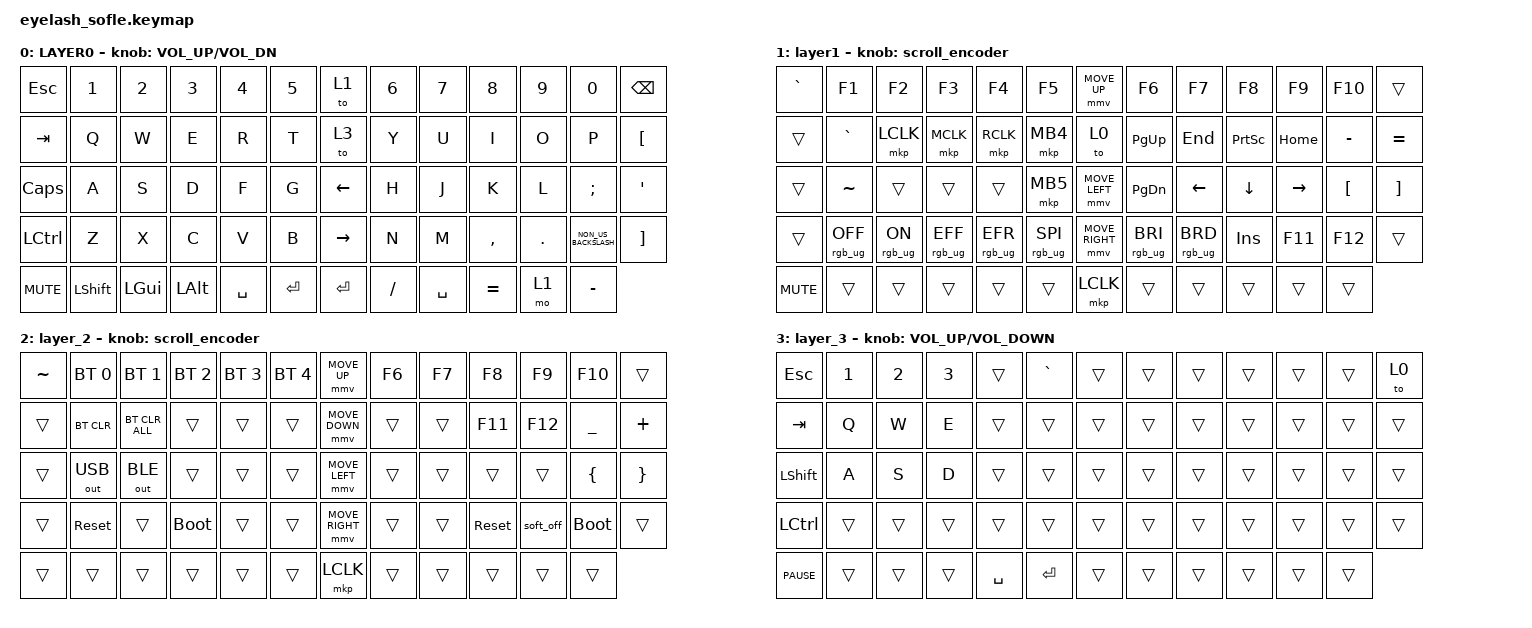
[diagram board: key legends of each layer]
#define ZMK_POINTING_DEFAULT_MOVE_VAL 1200  // 600
#define ZMK_POINTING_DEFAULT_SCRL_VAL 25   // 10

#include <input/processors.dtsi>
#include <zephyr/dt-bindings/input/input-event-codes.h>
#include <behaviors.dtsi>
#include <dt-bindings/zmk/bt.h>
#include <dt-bindings/zmk/keys.h>
#include <dt-bindings/zmk/outputs.h>
#include <dt-bindings/zmk/pointing.h>
#include <dt-bindings/zmk/rgb.h>

&mmv_input_listener { input-processors = <&zip_xy_scaler 2 1>; };

&msc_input_listener { input-processors = <&zip_scroll_scaler 2 1>; };

&msc {
    acceleration-exponent = <1>;      // 0
    time-to-max-speed-ms = <100>;       // 300
    delay-ms = <0>;                   // 0
};

&mmv {
    time-to-max-speed-ms = <500>;
    acceleration-exponent = <1>;
    trigger-period-ms = <16>;
};

/ {
    scroll_encoder: scroll_encoder {
        compatible = "zmk,behavior-sensor-rotate";
        #sensor-binding-cells = <0>;
        bindings = <&msc SCRL_DOWN>, <&msc SCRL_UP>;

        tap-ms = <100>;
    };

    behaviors {
    };

    keymap {
        compatible = "zmk,keymap";

        layer0 {
            bindings = <
&kp ESC           &kp N1      &kp N2        &kp N3        &kp N4     &kp N5       &to 1            &kp N6     &kp N7     &kp N8     &kp N9   &kp N0                &kp BACKSPACE
&kp TAB           &kp Q       &kp W         &kp E         &kp R      &kp T        &to 3            &kp Y      &kp U      &kp I      &kp O    &kp P                 &kp LEFT_BRACKET
&kp CAPS          &kp A       &kp S         &kp D         &kp F      &kp G        &kp LEFT_ARROW   &kp H      &kp J      &kp K      &kp L    &kp SEMI              &kp APOS
&kp LEFT_CONTROL  &kp Z       &kp X         &kp C         &kp V      &kp B        &kp RIGHT_ARROW  &kp N      &kp M      &kp COMMA  &kp DOT  &kp NON_US_BACKSLASH  &kp RIGHT_BRACKET
&kp K_MUTE        &kp LSHIFT  &kp LEFT_GUI  &kp LEFT_ALT  &kp SPACE  &kp ENTER    &kp ENTER        &kp SLASH  &kp SPACE  &kp EQUAL  &mo 1    &kp MINUS
            >;

            sensor-bindings = <&inc_dec_kp C_VOLUME_UP C_VOL_DN>;
            display-name = "LAYER0";
        };

        layer_1 {
            bindings = <
&kp GRAVE   &kp F1           &kp F2          &kp F3           &kp F4           &kp F5             &mmv MOVE_UP     &kp F6           &kp F7           &kp F8           &kp F9     &kp F10           &trans
&trans      &kp GRAVE        &mkp LCLK       &mkp MCLK        &mkp RCLK        &mkp MB4           &to 0            &kp PG_UP        &kp END          &kp PRINTSCREEN  &kp HOME   &kp MINUS         &kp EQUAL
&trans      &kp TILDE        &trans          &trans           &trans           &mkp MB5           &mmv MOVE_LEFT   &kp PG_DN        &kp LEFT         &kp DOWN         &kp RIGHT  &kp LEFT_BRACKET  &kp RIGHT_BRACKET
&trans      &rgb_ug RGB_OFF  &rgb_ug RGB_ON  &rgb_ug RGB_EFF  &rgb_ug RGB_EFR  &rgb_ug RGB_SPI    &mmv MOVE_RIGHT  &rgb_ug RGB_BRI  &rgb_ug RGB_BRD  &kp INSERT       &kp F11    &kp F12           &trans
&kp C_MUTE  &trans           &trans          &trans           &trans           &trans             &mkp LCLK        &trans           &trans           &trans           &trans     &trans
            >;

            display-name = "layer1";
            sensor-bindings = <&scroll_encoder>;
        };

        layer_2 {
            bindings = <
&kp TILDE  &bt BT_SEL 0  &bt BT_SEL 1    &bt BT_SEL 2  &bt BT_SEL 3  &bt BT_SEL 4    &mmv MOVE_UP     &kp F6  &kp F7  &kp F8      &kp F9     &kp F10      &trans
&trans     &bt BT_CLR    &bt BT_CLR_ALL  &trans        &trans        &trans          &mmv MOVE_DOWN   &trans  &trans  &kp F11     &kp F12    &kp UNDER    &kp PLUS
&trans     &out OUT_USB  &out OUT_BLE    &trans        &trans        &trans          &mmv MOVE_LEFT   &trans  &trans  &trans      &trans     &kp LBRC     &kp RBRC
&trans     &sys_reset    &trans          &bootloader   &trans        &trans          &mmv MOVE_RIGHT  &trans  &trans  &sys_reset  &soft_off  &bootloader  &trans
&trans     &trans        &trans          &trans        &trans        &trans          &mkp LCLK        &trans  &trans  &trans      &trans     &trans
            >;

            sensor-bindings = <&scroll_encoder>;
        };

        layer_3 {
            bindings = <
&kp ESC           &kp NUMBER_1  &kp NUMBER_2  &kp NUMBER_3  &trans     &kp GRAVE    &trans  &trans  &trans  &trans  &trans  &trans  &to 0
&kp TAB           &kp Q         &kp W         &kp E         &trans     &trans       &trans  &trans  &trans  &trans  &trans  &trans  &trans
&kp LEFT_SHIFT    &kp A         &kp S         &kp D         &trans     &trans       &trans  &trans  &trans  &trans  &trans  &trans  &trans
&kp LEFT_CONTROL  &trans        &trans        &trans        &trans     &trans       &trans  &trans  &trans  &trans  &trans  &trans  &trans
&kp C_PAUSE       &trans        &trans        &trans        &kp SPACE  &kp ENTER    &trans  &trans  &trans  &trans  &trans  &trans
            >;

            sensor-bindings = <&inc_dec_kp C_VOLUME_UP C_VOLUME_DOWN>;
        };
    };
};
